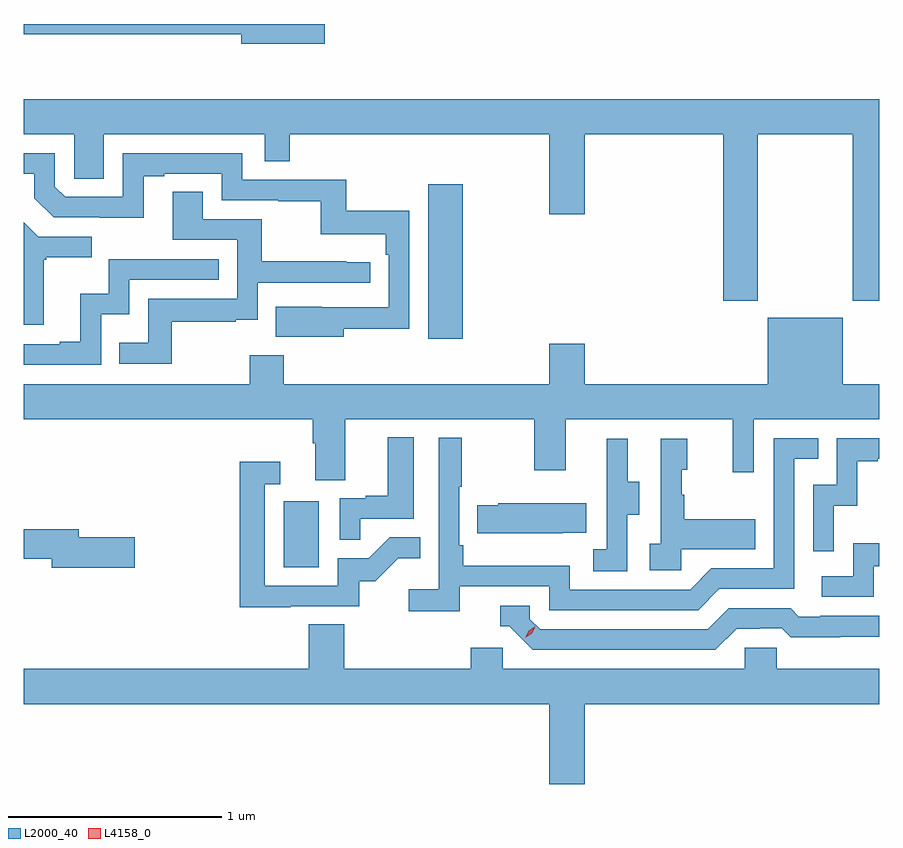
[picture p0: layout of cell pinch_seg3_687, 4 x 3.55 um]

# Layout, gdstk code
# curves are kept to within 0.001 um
import gdstk
lib = gdstk.Library(unit=1e-6, precision=1e-09)
def R(c, l, rs):  # rectangles x0, y0, x1, y1
    for r in rs: c.add(gdstk.rectangle(r[:2], r[2:], *l))
def P(c, l, *ps):  # polygons
    for p in ps: c.add(gdstk.Polygon(p, *l))
L2000_40 = (2000, 40)
L4158_0 = (4158, 0)

pinch_seg3_687 = lib.new_cell('pinch_seg3_687')
R(pinch_seg3_687, L2000_40, [(1134.794,669.588,1134.958,669.895), (1135.469,670.656,1135.63,671.377)])
P(pinch_seg3_687, L2000_40, [(1134.985,672.127),(1133.578,672.127),(1133.578,672.078),(1134.596,672.078),(1134.596,672.035),(1134.985,672.035)],
  [(1137.009,671.612),(1137.454,671.612),(1137.454,670.833),(1137.578,670.833),(1137.578,671.776),(1133.578,671.776),(1133.578,671.612),(1133.814,671.612),(1133.814,671.404),(1133.953,671.404),(1133.953,671.612),(1134.705,671.612),(1134.705,671.485),(1134.821,671.485),(1134.821,671.612),(1136.036,671.612),(1136.036,671.238),(1136.2,671.238),(1136.2,671.612),(1136.849,671.612),(1136.849,670.833),(1137.009,670.833)],
  [(1135.075,670.702),(1135.38,670.702),(1135.38,671.254),(1135.087,671.254),(1135.087,671.4),(1134.6,671.4),(1134.6,671.523),(1134.042,671.523),(1134.042,671.319),(1133.772,671.319),(1133.724,671.367),(1133.724,671.523),(1133.578,671.523),(1133.578,671.427),(1133.628,671.427),(1133.628,671.313),(1133.718,671.223),(1134.139,671.222),(1134.139,671.415),(1134.235,671.415),(1134.235,671.427),(1134.504,671.427),(1134.504,671.304),(1134.769,671.304),(1134.769,671.299),(1134.966,671.299),(1134.966,671.144),(1135.271,671.144),(1135.271,671.048),(1135.284,671.048),(1135.284,670.803),(1134.757,670.804),(1134.757,670.664),(1135.075,670.664)],
  [(1134.271,670.734),(1134.569,670.734),(1134.569,670.745),(1134.672,670.745),(1134.672,670.917),(1135.198,670.917),(1135.198,671.013),(1135.085,671.013),(1135.085,671.018),(1134.692,671.018),(1134.692,671.214),(1134.415,671.214),(1134.415,671.342),(1134.275,671.342),(1134.275,671.118),(1134.576,671.118),(1134.576,670.842),(1134.16,670.842),(1134.16,670.636),(1134.025,670.636),(1134.025,670.539),(1134.271,670.539)],
  [(1133.671,671.025),(1133.683,671.025),(1133.683,671.036),(1133.896,671.036),(1133.896,671.133),(1133.646,671.133),(1133.578,671.201),(1133.578,670.722),(1133.671,670.722)],
  [(1133.94,670.769),(1134.072,670.769),(1134.072,670.932),(1134.491,670.932),(1134.491,671.028),(1133.976,671.028),(1133.976,670.867),(1133.843,670.867),(1133.843,670.642),(1133.747,670.642),(1133.747,670.629),(1133.578,670.629),(1133.578,670.533),(1133.94,670.533)],
  [(1135.081,670.28),(1135.966,670.28),(1135.966,670.041),(1136.113,670.041),(1136.113,670.28),(1136.894,670.28),(1136.894,670.032),(1136.991,670.032),(1136.991,670.28),(1137.578,670.28),(1137.578,670.444),(1137.406,670.444),(1137.406,670.753),(1137.056,670.753),(1137.056,670.444),(1136.2,670.444),(1136.2,670.633),(1136.036,670.633),(1136.036,670.444),(1134.794,670.444),(1134.794,670.579),(1134.634,670.579),(1134.634,670.444),(1133.578,670.444),(1133.578,670.28),(1134.929,670.28),(1134.929,670.168),(1134.941,670.168),(1134.941,669.994),(1135.081,669.994)],
  [(1135.151,669.813),(1135.402,669.813),(1135.402,670.195),(1135.28,670.195),(1135.28,669.922),(1135.177,669.922),(1135.177,669.909),(1135.056,669.909),(1135.056,669.715),(1135.151,669.715)],
  [(1135.616,669.498),(1136.034,669.498),(1136.034,669.387),(1136.731,669.387),(1136.83,669.486),(1137.18,669.486),(1137.18,670.095),(1137.293,670.095),(1137.293,670.191),(1137.084,670.191),(1137.084,669.582),(1136.793,669.582),(1136.694,669.483),(1136.13,669.483),(1136.13,669.595),(1135.634,669.595),(1135.634,669.691),(1135.614,669.691),(1135.614,669.964),(1135.627,669.964),(1135.627,670.192),(1135.518,670.192),(1135.518,669.484),(1135.377,669.484),(1135.377,669.382),(1135.616,669.382)],
  [(1137.366,669.875),(1137.476,669.875),(1137.476,670.083),(1137.571,670.083),(1137.571,670.095),(1137.578,670.095),(1137.578,670.191),(1137.378,670.191),(1137.378,669.972),(1137.27,669.972),(1137.27,669.663),(1137.366,669.663)],
  [(1136.652,669.671),(1136.999,669.671),(1136.999,669.811),(1136.665,669.811),(1136.665,669.926),(1136.655,669.926),(1136.655,670.044),(1136.68,670.044),(1136.68,670.189),(1136.556,670.189),(1136.556,669.698),(1136.505,669.698),(1136.505,669.573),(1136.652,669.573)],
  [(1136.4,669.832),(1136.455,669.832),(1136.455,669.987),(1136.401,669.987),(1136.401,670.189),(1136.303,670.189),(1136.303,669.975),(1136.304,669.975),(1136.304,669.671),(1136.241,669.671),(1136.241,669.568),(1136.4,669.568)],
  [(1134.827,669.405),(1135.146,669.405),(1135.146,669.522),(1135.222,669.522),(1135.329,669.629),(1135.433,669.629),(1135.433,669.728),(1135.29,669.728),(1135.192,669.63),(1135.047,669.63),(1135.047,669.501),(1134.705,669.501),(1134.705,669.975),(1134.778,669.975),(1134.778,670.081),(1134.589,670.081),(1134.589,669.4),(1134.827,669.4)],
  [(1136.099,669.749),(1136.207,669.749),(1136.207,669.886),(1135.797,669.886),(1135.797,669.876),(1135.699,669.876),(1135.699,669.746),(1136.099,669.746)],
  [(1134.097,669.728),(1133.836,669.728),(1133.836,669.764),(1133.578,669.764),(1133.578,669.628),(1133.708,669.628),(1133.708,669.586),(1134.097,669.586)],
  [(1137.552,669.591),(1137.578,669.591),(1137.578,669.7),(1137.456,669.7),(1137.456,669.546),(1137.309,669.546),(1137.309,669.45),(1137.552,669.45)],
  [(1136.911,669.3),(1137.018,669.3),(1137.018,669.303),(1137.121,669.303),(1137.163,669.261),(1137.396,669.261),(1137.396,669.263),(1137.578,669.263),(1137.578,669.36),(1137.301,669.36),(1137.301,669.357),(1137.202,669.357),(1137.163,669.396),(1136.874,669.396),(1136.775,669.297),(1135.992,669.297),(1135.944,669.345),(1135.944,669.408),(1135.805,669.408),(1135.805,669.312),(1135.848,669.312),(1135.959,669.201),(1136.812,669.201)],
  [(1136.2,668.948),(1137.578,668.948),(1137.578,669.112),(1137.099,669.112),(1137.099,669.21),(1136.949,669.21),(1136.949,669.112),(1135.818,669.112),(1135.818,669.21),(1135.667,669.21),(1135.667,669.112),(1135.076,669.112),(1135.076,669.32),(1134.911,669.32),(1134.911,669.112),(1133.578,669.112),(1133.578,668.948),(1136.036,668.948),(1136.036,668.574),(1136.2,668.574)])
P(pinch_seg3_687, L4158_0, [(1135.922,669.258),(1135.922,669.258),(1135.938,669.291),(1135.968,669.31),(1135.969,669.31),(1135.969,669.31),(1135.953,669.278),(1135.922,669.258)])

lib.write_gds('pinch_seg3_687.gds')
